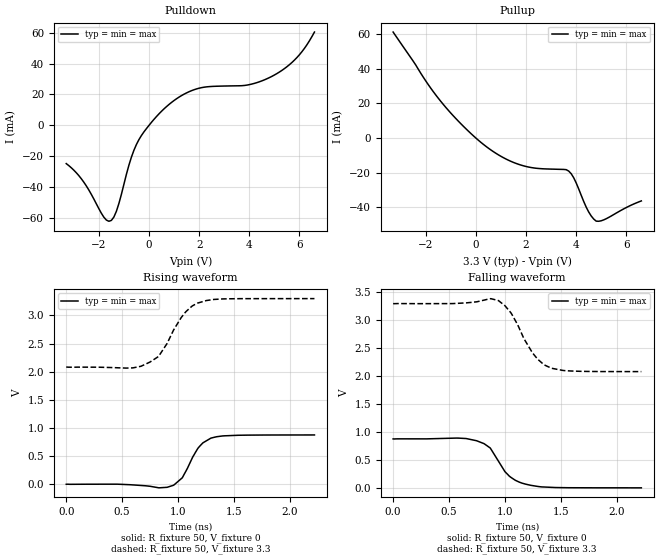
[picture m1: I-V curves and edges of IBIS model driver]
| IBIS file ex2_weak_tr5ps.ibs created by PYS2IBIS3
| Missouri S&T EMC Lab
[IBIS Ver] 7.1
[File Name] ex2_weak_tr5ps.ibs
[File Rev] 1.0
[Date] July 28, 2026
[Source] ex2 variant 'weak' -- output stage at half width
[Notes] Parameter selection; sim_time=2.222e-09, tr=tf=5.000e-12.
[Disclaimer] Experimental characterization for pybis observability study.
[Component] MCM Driver 1
[Manufacturer] MegaFLOPS Inc.
[Package]
| variable   typ   min   max
R_pkg 0 NA NA
L_pkg 0H NA NA
C_pkg 0F NA NA
[Pin]  signal_name   model_name   R_pin   L_pin   C_pin
vdd   vdd   POWER
gnd   gnd   GND
| in in dummy
out   out   driver
| End of Component
| Models and submodels in the file (1): driver (Output)
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[Model] driver
Model_type Output
Polarity Non-Inverting
Enable Active-Low
Vinl  = 0.8V
Vinh  = 2V
C_comp 5.0000pF 5.0000pF 5.0000pF
[Temperature Range] 27.0000 27.0000 27.0000
[Voltage Range] 3.3000V 3.3000V 3.3000V
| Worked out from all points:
|   slope of the pulldown table from 0 to 0.495 V, typ, clamps not added: 54.7 ohm
|   slope of the pullup table from 0 to 0.495 V, typ, clamps not added: 85.1 ohm
|   rising waveform, R_fixture 50, V_fixture 0: 20-80 % time 151ps typ, 151ps min, 151ps max; typ from 0 V to 0.876 V
|   rising waveform, R_fixture 50, V_fixture 3.3: 20-80 % time 221ps typ, 221ps min, 221ps max; typ from 2.08 V to 3.3 V
|   falling waveform, R_fixture 50, V_fixture 0: 20-80 % time 190ps typ, 190ps min, 190ps max; typ from 0.876 V to 0 V
|   falling waveform, R_fixture 50, V_fixture 3.3: 20-80 % time 208ps typ, 208ps min, 208ps max; typ from 3.3 V to 2.08 V
[Pulldown]
| Voltage   I(typ)   I(min)   I(max)
-3.3V     -24.71mA   -24.71mA   -24.71mA
-2.6V     -36.69mA   -36.69mA   -36.69mA
-1.8V     -59.35mA   -59.35mA   -59.35mA
-1.5V     -61.44mA   -61.44mA   -61.44mA
-1.3V     -55.57mA   -55.57mA   -55.57mA
-500mV    -12.32mA   -12.32mA   -12.32mA
600mV     10.7mA     10.7mA     10.7mA
1.9V      23.61mA    23.61mA    23.61mA
3.9V      26.05mA    26.05mA    26.05mA
4.9V      31.7mA     31.7mA     31.7mA
5.9V      43.88mA    43.88mA    43.88mA
6.6V      60.38mA    60.38mA    60.38mA
[Pullup]
| Voltage   I(typ)   I(min)   I(max)
-3.3V     61.37mA    61.37mA    61.37mA
-1.9V     30.97mA    30.97mA    30.97mA
-1.3V     19.49mA    19.49mA    19.49mA
-200mV    2.648mA    2.648mA    2.648mA
700mV     -7.897mA   -7.897mA   -7.897mA
2V        -16.47mA   -16.47mA   -16.47mA
3.7V      -19.09mA   -19.09mA   -19.09mA
3.9V      -22.93mA   -22.93mA   -22.93mA
4.5V      -42.81mA   -42.81mA   -42.81mA
4.8V      -48.13mA   -48.13mA   -48.13mA
5.1V      -47.39mA   -47.39mA   -47.39mA
6.6V      -36.41mA   -36.41mA   -36.41mA
[Ramp]
| variable   typ   min   max
dV/dt_r 0.5258/0.1508n 0.5258/0.1508n 0.5258/0.1508n
dV/dt_f 0.7308/0.2078n 0.7308/0.2078n 0.7308/0.2078n
R_load = 50
[Rising Waveform]
R_fixture = 50
V_fixture = 0
|time   V(typ)   V(min)   V(max)
0s        5.892nV    5.892nV    5.892nV
442.7ps   2.474mV    2.474mV    2.474mV
903.1ps   -54.27mV   -54.27mV   -54.27mV
961ps     -17.4mV    -17.4mV    -17.4mV
1.037ns   108mV      108mV      108mV
1.179ns   639.7mV    639.7mV    639.7mV
1.221ns   733.4mV    733.4mV    733.4mV
1.292ns   817.9mV    817.9mV    817.9mV
1.468ns   867.1mV    867.1mV    867.1mV
2.222ns   876.3mV    876.3mV    876.3mV
[Rising Waveform]
R_fixture = 50
V_fixture = 3.3
|time   V(typ)   V(min)   V(max)
0s        2.081V     2.081V     2.081V
593.9ps   2.068V     2.068V     2.068V
740.7ps   2.161V     2.161V     2.161V
827.5ps   2.275V     2.275V     2.275V
898.7ps   2.486V     2.486V     2.486V
1.021ns   2.941V     2.941V     2.941V
1.065ns   3.057V     3.057V     3.057V
1.13ns    3.172V     3.172V     3.172V
1.241ns   3.261V     3.261V     3.261V
2.222ns   3.3V       3.3V       3.3V
[Falling Waveform]
R_fixture = 50
V_fixture = 0
|time   V(typ)   V(min)   V(max)
0s        876.4mV    876.4mV    876.4mV
576.1ps   891.7mV    891.7mV    891.7mV
743ps     846.9mV    846.9mV    846.9mV
869.8ps   713.2mV    713.2mV    713.2mV
994.3ps   306.6mV    306.6mV    306.6mV
1.043ns   204mV      204mV      204mV
1.112ns   118.2mV    118.2mV    118.2mV
1.203ns   56.45mV    56.45mV    56.45mV
1.426ns   6.716mV    6.716mV    6.716mV
2.222ns   17.78uV    17.78uV    17.78uV
[Falling Waveform]
R_fixture = 50
V_fixture = 3.3
|time   V(typ)   V(min)   V(max)
0s        3.3V       3.3V       3.3V
578.4ps   3.304V     3.304V     3.304V
872ps     3.39V      3.39V      3.39V
941ps     3.356V     3.356V     3.356V
1.057ns   3.129V     3.129V     3.129V
1.175ns   2.661V     2.661V     2.661V
1.248ns   2.417V     2.417V     2.417V
1.357ns   2.199V     2.199V     2.199V
1.53ns    2.1V       2.1V       2.1V
2.222ns   2.082V     2.082V     2.082V
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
